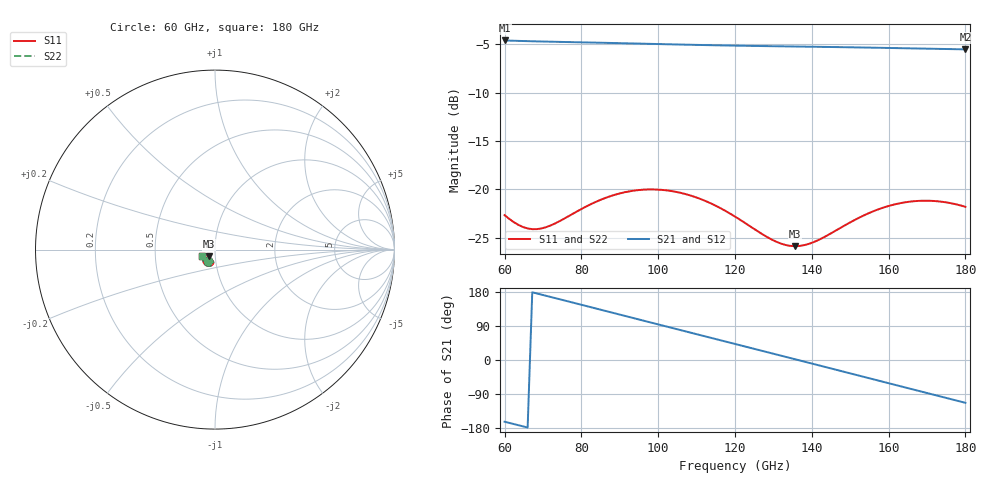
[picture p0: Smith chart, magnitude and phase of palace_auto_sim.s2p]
#  GHZ S DB R 50
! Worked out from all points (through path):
!   101 points, 60 GHz to 180 GHz, reference 50 ohm
!   highest |S21| = -4.58 dB at 60 GHz (marker M1); lowest = -5.5 dB at 180 GHz (marker M2)
!   group delay of S21, straight-line fit = 7.18 ps
!   lowest |S11| = -25.9 dB at 135.6 GHz (marker M3), VSWR 1.11, Z = 46.5 - j3.45 ohm
!   |S11| at or under -10 dB: start of sweep to end of sweep
!   |S22| runs from -25.8 to -20.0 dB; largest |S21 - S12| = 9.5e-14
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60  -22.67 -120.7  -4.58 -162.9  -4.58 -162.9  -22.66 -120.6
64.8  -23.90 -113.3  -4.64 -175.2  -4.64 -175.2  -23.88 -113.2
68.4  -24.12 -106.3  -4.68 175.6  -4.68 175.6  -24.10 -106.2
74.4  -23.27 -98.3  -4.73 160.2  -4.73 160.2  -23.26 -98.3
80.4  -21.95 -97.9  -4.78 144.7  -4.78 144.7  -21.94 -97.9
86.4  -20.86 -103.0  -4.83 129.2  -4.83 129.2  -20.85 -103.0
91.2  -20.31 -109.1  -4.87 116.7  -4.87 116.7  -20.29 -109.1
96  -20.04 -116.2  -4.92 104.3  -4.92 104.3  -20.02 -116.2
100.8  -20.05 -123.6  -4.96 91.9  -4.96 91.9  -20.03 -123.5
105.6  -20.34 -130.8  -5.00 79.5  -5.00 79.5  -20.32 -130.7
110.4  -20.90 -137.3  -5.05 67.1  -5.05 67.1  -20.87 -137.3
120  -22.81 -146.1  -5.12 42.3  -5.12 42.3  -22.76 -146.1
128.4  -24.94 -144.2  -5.17 20.7  -5.17 20.7  -24.86 -144.4
135.6  -25.88 -133.3  -5.21 2.1  -5.21 2.1  -25.79 -133.9
140.4  -25.48 -125.4  -5.23 -10.4  -5.23 -10.4  -25.42 -126.3
150  -23.42 -120.7  -5.29 -35.3  -5.29 -35.3  -23.43 -121.6
156  -22.27 -124.3  -5.33 -50.8  -5.33 -50.8  -22.31 -125.2
160.8  -21.63 -129.2  -5.36 -63.3  -5.36 -63.3  -21.69 -130.1
165.6  -21.27 -135.1  -5.40 -75.7  -5.40 -75.7  -21.34 -136.0
170.4  -21.18 -141.4  -5.43 -88.2  -5.43 -88.2  -21.26 -142.2
175.2  -21.36 -147.6  -5.47 -100.6  -5.47 -100.6  -21.45 -148.5
180  -21.81 -153.3  -5.50 -113.0  -5.50 -113.0  -21.92 -154.2
